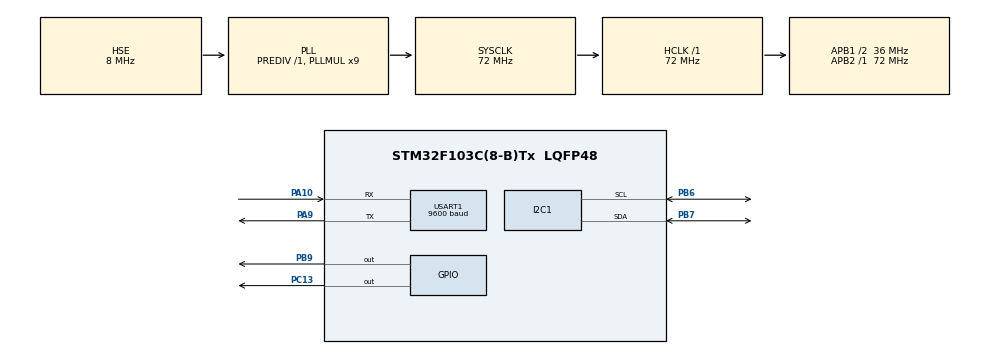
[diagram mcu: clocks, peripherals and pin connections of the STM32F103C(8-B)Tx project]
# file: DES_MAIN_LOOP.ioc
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Mcu.Family=STM32F1
Mcu.Name=STM32F103C(8-B)Tx
Mcu.Package=LQFP48
NVIC.PriorityGroup=NVIC_PRIORITYGROUP_4
PA10.Mode=Asynchronous
PA10.Signal=USART1_RX
PA13.Mode=Serial_Wire
PA13.Signal=SYS_JTMS-SWDIO
PA14.Mode=Serial_Wire
PA14.Signal=SYS_JTCK-SWCLK
PA9.Mode=Asynchronous
PA9.Signal=USART1_TX
PB6.Mode=I2C
PB6.Signal=I2C1_SCL
PB7.Mode=I2C
PB7.Signal=I2C1_SDA
PB9.Signal=GPIO_Output
PC13-TAMPER-RTC.Signal=GPIO_Output
PD0-OSC_IN.Mode=HSE-External-Oscillator
PD0-OSC_IN.Signal=RCC_OSC_IN
PD1-OSC_OUT.Mode=HSE-External-Oscillator
PD1-OSC_OUT.Signal=RCC_OSC_OUT
ProjectManager.HeapSize=0x200
ProjectManager.StackSize=0x400
ProjectManager.TargetToolchain=STM32CubeIDE
RCC.AHBFreq_Value=72000000
RCC.APB1CLKDivider=RCC_HCLK_DIV2
RCC.APB1Freq_Value=36000000
RCC.APB1TimFreq_Value=72000000
RCC.APB2Freq_Value=72000000
RCC.APB2TimFreq_Value=72000000
RCC.HCLKFreq_Value=72000000
RCC.PLLMUL=RCC_PLL_MUL9
RCC.PLLSourceVirtual=RCC_PLLSOURCE_HSE
RCC.SYSCLKFreq_VALUE=72000000
RCC.SYSCLKSource=RCC_SYSCLKSOURCE_PLLCLK
RCC.USBFreq_Value=72000000
TIM1.Prescaler=71
USART1.BaudRate=9600
USART1.VirtualMode=VM_ASYNC
VP_TIM1_VS_ClockSourceINT.Mode=Internal
board=custom

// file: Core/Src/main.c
/* USER CODE BEGIN Header */
/**
  **************************************************************************
  * @file           : main.c
  * @brief          : Main program body
  **************************************************************************
  * @attention
  *
  * Copyright (c) 2025 STMicroelectronics.
  * All rights reserved.
  *
  * This software is licensed under terms that can be found in the LICENSE file
  * in the root directory of this software component.
  * If no LICENSE file comes with this software, it is provided AS-IS.
  *
  **************************************************************************
  */
/* USER CODE END Header */
#include "main.h"

/* USER CODE BEGIN Includes */
#include "string.h"
#include "stdlib.h"
#include "stdio.h"
#include "liquidcrystal_i2c.h"
#include "DS1307.h"
#include "DHT.h"
/* USER CODE END Includes */

/* USER CODE BEGIN PM */
uint8_t hour; // Gi�? thực
uint8_t min;  // Phút thực
uint8_t sec;  // Giây thực
uint8_t set_hour; // Gi�? thực
uint8_t set_min;  // Phút thực
uint8_t set_sec;  // Giây thực
float t;
char tx_buff[100] = "START_TX";
char Lcd_send1[20];
char LCD_send2[20];
uint8_t count=0;
uint8_t printf_to_com[20]; // mang luu gia tri thu tu computer de in ra man hinh
uint8_t Rx_data[50]; // Mảng lưu dữ liệu nhận được
uint8_t Rx_data_reel[50];
uint16_t rx_len = 0;
/* USER CODE END PM */

I2C_HandleTypeDef hi2c1;

TIM_HandleTypeDef htim1;

UART_HandleTypeDef huart1;

void SystemClock_Config(void);
static void MX_GPIO_Init(void);
static void MX_TIM1_Init(void);
static void MX_USART1_UART_Init(void);
static void MX_I2C1_Init(void);

/* USER CODE BEGIN 0 */
void I2C_DS1307(void)
{
	  hour = DS1307_GetHour(); 		// Lấy gi�?
	  min = DS1307_GetMinute();	  	// Lấy phút
	  sec = DS1307_GetSecond();
}
void One_write_DHT11(void)
{
	t = DHT11();
}
void I2C_LCD(void)
{
	  HD44780_Clear();
	  HD44780_SetCursor(0,0);
	  sprintf(Lcd_send1, "%.1f%%", t);
	  HD44780_PrintStr(Lcd_send1);

	  HD44780_SetCursor(7,0);
	  sprintf(LCD_send2, "%02d:%02d:%02d   ", hour, min,sec);
	  HD44780_PrintStr(LCD_send2);

	  HAL_Delay(100);

//	  if(rx_len!=0)
//	  {
//	  }
}
void UART_TX(void)
{
	int ret = snprintf((char*)tx_buff, sizeof(tx_buff), "HUM : %.2f\r\nTIME : %02u:%02u:%02u\r\n", t, hour, min, sec);
	    if (ret < 0 || ret >= sizeof(tx_buff)) {
	        // Xử lý lỗi (chuỗi quá dài)
	        // Ví dụ: in thông báo lỗi ra debug hoặc bỏ qua
	        // Bạn cần xử lý lỗi này để tránh crash chương trình
	        const char* error_msg = "Error: Buffer too small\r\n";
	        HAL_UART_Transmit(&huart1, (uint8_t*)error_msg, strlen(error_msg), HAL_MAX_DELAY);
	        return; // Dừng hàm nếu có lỗi
	    }
	    HAL_UART_Transmit(&huart1, tx_buff, strlen((char*)tx_buff), HAL_MAX_DELAY);
}
void UART_RX(void)
{
	memset(Rx_data, 0, sizeof(Rx_data));
//	memset(Rx_data_reel, 0, sizeof(Rx_data));
//	memset(printf_to_com, 0, sizeof(Rx_data));
	HAL_UART_Receive(&huart1, Rx_data, sizeof(Rx_data), 1000);
	rx_len=0;
	if(strlen(Rx_data) > 0)
	{
	    if (Rx_data[0] == 'S' && Rx_data[1] == 'T')
	    {
	    	char *p = &Rx_data[3];
	    	sscanf(p,"%d%d%d", &set_hour, &set_min, &set_sec);
			//HD44780_SetCursor(0,1);
			//sprintf(LCD_send2, "Time:%02d:%02d:%02d   ", set_hour, set_min,set_sec);
			//HD44780_PrintStr(LCD_send2);
			//HAL_Delay(1000);
	    	setDS1307Time(set_hour, set_min, set_sec);

	    }
	    else if (Rx_data[0] == 'S' && Rx_data[1] == 'P')
	    {

	    	char *p = &Rx_data[2];
	    	HD44780_SetCursor(0,1);
	    	HD44780_PrintStr("              ");
	    	HD44780_SetCursor(0,1);
	    	HD44780_PrintStr(p);
	    	HAL_Delay(3000);
	    }
	    else if (Rx_data[0] == 'G')
	    {
	    	UART_TX();
	    }
	    else if(strlen(Rx_data)>1)
	    {
	    	HD44780_SetCursor(0,1);
	    	HD44780_PrintStr("Non_true_form");
	    	HAL_Delay(3000);
	    }

	}

}

uint8_t decToBcd(uint8_t val) {
  return ((val / 10) << 4) | (val % 10);
}

uint8_t bcdToDec(uint8_t val) {
  return ((val >> 4) * 10) + (val & 0x0F);
}

void setDS1307Time(uint8_t set_hour, uint8_t set_min, uint8_t set_sec) {
  uint8_t data[3];

  data[0] = decToBcd(set_sec); // Giây
  data[1] = decToBcd(set_min); // Phút
  data[2] = decToBcd(set_hour); // Giờ

  // Ghi dữ liệu vào DS1307
  HAL_I2C_Mem_Write(&hi2c1, 0xD0, 0x00, 1, data, 3, 1000); // Địa chỉ DS1307 là 0xD0
}

typedef struct {
    void (*task_function)();   // Con trỏ tới hàm task
    uint32_t period;           // Chu kỳ thực thi (ms)
    uint32_t next_run;         // Thời gian thực thi tiếp theo (ms)
} Task;

// Bảng lịch
Task task_list[] = {
    {One_write_DHT11, 100, 0},  // Task 1: chu kỳ 100ms
    {I2C_DS1307, 200, 0},       // Task 2: chu kỳ 200ms
    {I2C_LCD, 300, 0},          // Task 3: chu kỳ 300ms
    {UART_RX, 200, 0}            // Task 4: chu kỳ 50ms
};

const uint8_t NUM_TASKS = sizeof(task_list) / sizeof(Task);

/* USER CODE END 0 */

int main(void)
{

  /* MCU Configuration--------------------------------------------------------*/

  /* Reset of all peripherals, Initializes the Flash interface and the Systick. */
  HAL_Init();

  /* Configure the system clock */
  SystemClock_Config();

  /* Initialize all configured peripherals */
  MX_GPIO_Init();
  MX_TIM1_Init();
  MX_USART1_UART_Init();
  MX_I2C1_Init();
  /* USER CODE BEGIN 2 */
  HAL_TIM_Base_Start(&htim1);
  HD44780_Init(2);
  DS1307_Init(&hi2c1);

  uint32_t current_time = 0;
  /* USER CODE END 2 */

  /* Infinite loop */
  /* USER CODE BEGIN WHILE */
  while (1)
    {
//	  const char* test_msg = "Hello World!\r\n";
//	  HAL_UART_Transmit(&huart1, (uint8_t*)test_msg, strlen(test_msg), HAL_MAX_DELAY);
	  current_time = HAL_GetTick();  // Lấy thời gian hiện tại (ms)

	         // Duyệt qua bảng lịch
	         for (uint8_t i = 0; i < NUM_TASKS; i++) {
	             if (current_time >= task_list[i].next_run) {
	                 // Gọi hàm task
	                 task_list[i].task_function();

	                 // Cập nhật thời gian thực thi tiếp theo
	                 task_list[i].next_run = current_time + task_list[i].period;
	             }
	         }
    /* USER CODE END WHILE */
  }
}

void SystemClock_Config(void)
{
  RCC_OscInitTypeDef RCC_OscInitStruct = {0};
  RCC_ClkInitTypeDef RCC_ClkInitStruct = {0};

  /** Initializes the RCC Oscillators according to the specified parameters
  * in the RCC_OscInitTypeDef structure.
  */
  RCC_OscInitStruct.OscillatorType = RCC_OSCILLATORTYPE_HSE;
  RCC_OscInitStruct.HSEState = RCC_HSE_ON;
  RCC_OscInitStruct.HSEPredivValue = RCC_HSE_PREDIV_DIV1;
  RCC_OscInitStruct.HSIState = RCC_HSI_ON;
  RCC_OscInitStruct.PLL.PLLState = RCC_PLL_ON;
  RCC_OscInitStruct.PLL.PLLSource = RCC_PLLSOURCE_HSE;
  RCC_OscInitStruct.PLL.PLLMUL = RCC_PLL_MUL9;
  if (HAL_RCC_OscConfig(&RCC_OscInitStruct) != HAL_OK)
  {
    Error_Handler();
  }

  /** Initializes the CPU, AHB and APB buses clocks
  */
  RCC_ClkInitStruct.ClockType = RCC_CLOCKTYPE_HCLK|RCC_CLOCKTYPE_SYSCLK
                              |RCC_CLOCKTYPE_PCLK1|RCC_CLOCKTYPE_PCLK2;
  RCC_ClkInitStruct.SYSCLKSource = RCC_SYSCLKSOURCE_PLLCLK;
  RCC_ClkInitStruct.AHBCLKDivider = RCC_SYSCLK_DIV1;
  RCC_ClkInitStruct.APB1CLKDivider = RCC_HCLK_DIV2;
  RCC_ClkInitStruct.APB2CLKDivider = RCC_HCLK_DIV1;

  if (HAL_RCC_ClockConfig(&RCC_ClkInitStruct, FLASH_LATENCY_2) != HAL_OK)
  {
    Error_Handler();
  }
}

static void MX_I2C1_Init(void)
{

  hi2c1.Instance = I2C1;
  hi2c1.Init.ClockSpeed = 100000;
  hi2c1.Init.DutyCycle = I2C_DUTYCYCLE_2;
  hi2c1.Init.OwnAddress1 = 0;
  hi2c1.Init.AddressingMode = I2C_ADDRESSINGMODE_7BIT;
  hi2c1.Init.DualAddressMode = I2C_DUALADDRESS_DISABLE;
  hi2c1.Init.OwnAddress2 = 0;
  hi2c1.Init.GeneralCallMode = I2C_GENERALCALL_DISABLE;
  hi2c1.Init.NoStretchMode = I2C_NOSTRETCH_DISABLE;
  if (HAL_I2C_Init(&hi2c1) != HAL_OK)
  {
    Error_Handler();
  }

}

static void MX_TIM1_Init(void)
{

  TIM_ClockConfigTypeDef sClockSourceConfig = {0};
  TIM_MasterConfigTypeDef sMasterConfig = {0};

  htim1.Instance = TIM1;
  htim1.Init.Prescaler = 71;
  htim1.Init.CounterMode = TIM_COUNTERMODE_UP;
  htim1.Init.Period = 65535;
  htim1.Init.ClockDivision = TIM_CLOCKDIVISION_DIV1;
  htim1.Init.RepetitionCounter = 0;
  htim1.Init.AutoReloadPreload = TIM_AUTORELOAD_PRELOAD_DISABLE;
  if (HAL_TIM_Base_Init(&htim1) != HAL_OK)
  {
    Error_Handler();
  }
  sClockSourceConfig.ClockSource = TIM_CLOCKSOURCE_INTERNAL;
  if (HAL_TIM_ConfigClockSource(&htim1, &sClockSourceConfig) != HAL_OK)
  {
    Error_Handler();
  }
  sMasterConfig.MasterOutputTrigger = TIM_TRGO_RESET;
  sMasterConfig.MasterSlaveMode = TIM_MASTERSLAVEMODE_DISABLE;
  if (HAL_TIMEx_MasterConfigSynchronization(&htim1, &sMasterConfig) != HAL_OK)
  {
    Error_Handler();
  }

}

static void MX_USART1_UART_Init(void)
{

  huart1.Instance = USART1;
  huart1.Init.BaudRate = 9600;
  huart1.Init.WordLength = UART_WORDLENGTH_8B;
  huart1.Init.StopBits = UART_STOPBITS_1;
  huart1.Init.Parity = UART_PARITY_NONE;
  huart1.Init.Mode = UART_MODE_TX_RX;
  huart1.Init.HwFlowCtl = UART_HWCONTROL_NONE;
  huart1.Init.OverSampling = UART_OVERSAMPLING_16;
  if (HAL_UART_Init(&huart1) != HAL_OK)
  {
    Error_Handler();
  }

}

static void MX_GPIO_Init(void)
{
  GPIO_InitTypeDef GPIO_InitStruct = {0};

  /* GPIO Ports Clock Enable */
  __HAL_RCC_GPIOC_CLK_ENABLE();
  __HAL_RCC_GPIOD_CLK_ENABLE();
  __HAL_RCC_GPIOA_CLK_ENABLE();
  __HAL_RCC_GPIOB_CLK_ENABLE();

  /*Configure GPIO pin Output Level */
  HAL_GPIO_WritePin(GPIOC, GPIO_PIN_13, GPIO_PIN_RESET);

  /*Configure GPIO pin Output Level */
  HAL_GPIO_WritePin(GPIOB, GPIO_PIN_9, GPIO_PIN_RESET);

  /*Configure GPIO pin : PC13 */
  GPIO_InitStruct.Pin = GPIO_PIN_13;
  GPIO_InitStruct.Mode = GPIO_MODE_OUTPUT_PP;
  GPIO_InitStruct.Pull = GPIO_NOPULL;
  GPIO_InitStruct.Speed = GPIO_SPEED_FREQ_LOW;
  HAL_GPIO_Init(GPIOC, &GPIO_InitStruct);

  /*Configure GPIO pin : PB9 */
  GPIO_InitStruct.Pin = GPIO_PIN_9;
  GPIO_InitStruct.Mode = GPIO_MODE_OUTPUT_PP;
  GPIO_InitStruct.Pull = GPIO_PULLUP;
  GPIO_InitStruct.Speed = GPIO_SPEED_FREQ_LOW;
  HAL_GPIO_Init(GPIOB, &GPIO_InitStruct);

}

void Error_Handler(void)
{
  __disable_irq();
  while (1)
  {
  }
}
